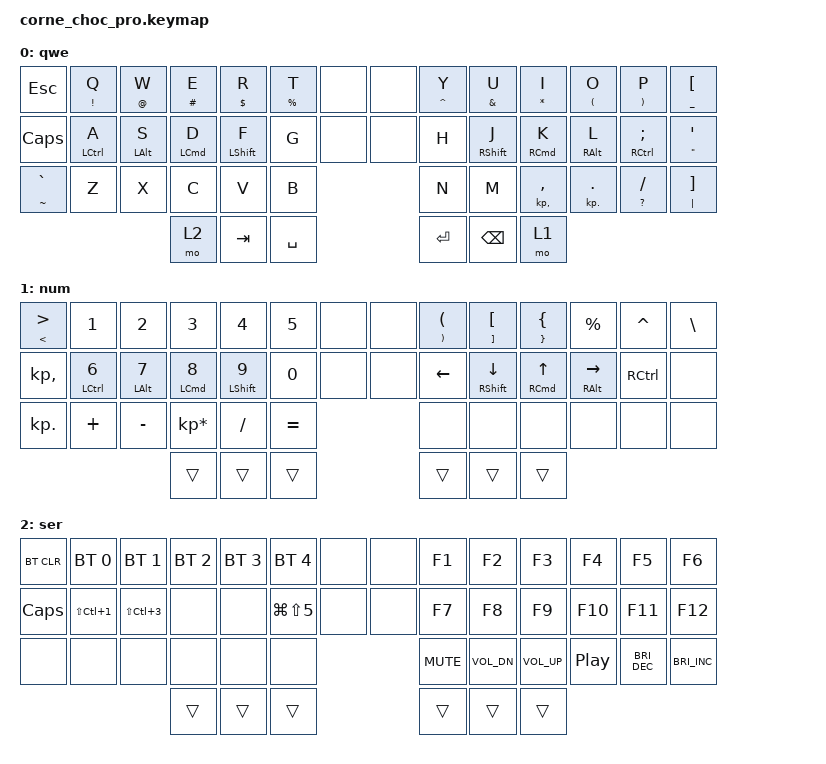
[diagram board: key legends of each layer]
/*
 * Copyright (c) 2020 The ZMK Contributors
 *
 * SPDX-License-Identifier: MIT
 */

#include <behaviors.dtsi>
#include <dt-bindings/zmk/bt.h>
#include <dt-bindings/zmk/keys.h>

/ {
    chosen { zmk,physical-layout = &default_layout; };
};

/ {
    behaviors {
        hml: hml {
            compatible = "zmk,behavior-hold-tap";
            label = "HML";
            bindings = <&kp>, <&kp>;

            #binding-cells = <2>;
            tapping-term-ms = <400>;
            flavor = "tap-preferred";
            hold-trigger-key-positions = <5 4 2 3 0 1 14 15 16 17 18 19 33 32 31 30 29 28 40 41 42>;
            hold-trigger-on-release;
            quick-tap-ms = <400>;
        };

        hmr: hmr {
            compatible = "zmk,behavior-hold-tap";
            label = "HMR";
            bindings = <&kp>, <&kp>;

            #binding-cells = <2>;
            tapping-term-ms = <400>;
            flavor = "tap-preferred";
            hold-trigger-key-positions = <8 9 10 11 12 13 22 23 24 25 26 27 39 38 37 36 34 35 43 44 45>;
            quick-tap-ms = <400>;
            hold-trigger-on-release;
            require-prior-idle-ms = <0>;
        };
    };

    combos {
        compatible = "zmk,combos";

        service_layer_toggle {
            bindings = <&mo 2>;
            key-positions = <37 40>;
        };
    };

    keymap {
        compatible = "zmk,keymap";

        default {
            bindings = <
&kp ESC           &hml EXCL Q   &hml AT_SIGN W   &hml HASH E          &hml DOLLAR R      &hml PERCENT T  &none  &none  &hmr CARET Y  &hmr AMPERSAND U    &hmr ASTERISK I       &hmr LEFT_PARENTHESIS O  &hmr RIGHT_PARENTHESIS P  &hmr UNDERSCORE LEFT_BRACKET
&kp CAPSLOCK      &hml LCTRL A  &hml LEFT_ALT S  &hml LEFT_COMMAND D  &hml LEFT_SHIFT F  &kp G           &none  &none  &kp H         &hmr RIGHT_SHIFT J  &hmr RIGHT_COMMAND K  &hmr RIGHT_ALT L         &hmr RCTRL SEMICOLON      &hmr DOUBLE_QUOTES SINGLE_QUOTE
&hml TILDE GRAVE  &kp Z         &kp X            &kp C                &kp V              &kp B                         &kp N         &kp M               &hmr KP_COMMA COMMA   &hmr KP_DOT PERIOD       &hmr QUESTION SLASH       &hmr PIPE RIGHT_BRACKET
                                                 &mo 2                &kp TAB            &kp SPACE                     &kp ENTER     &kp BACKSPACE       &mo 1
            >;

            label = "qwe";
        };

        nums_and_syms {
            bindings = <
&hml LESS_THAN GREATER_THAN  &kp NUMBER_1         &kp NUMBER_2            &kp NUMBER_3                &kp NUMBER_4              &kp N5        &none  &none  &hmr RIGHT_PARENTHESIS LEFT_PARENTHESIS  &hmr RIGHT_BRACKET LEFT_BRACKET  &hmr RIGHT_BRACE LEFT_BRACE  &kp PERCENT           &kp CARET  &kp BACKSLASH
&kp KP_COMMA                 &hml LCTRL NUMBER_6  &hml LEFT_ALT NUMBER_7  &hml LEFT_COMMAND NUMBER_8  &hml LEFT_SHIFT NUMBER_9  &kp NUMBER_0  &none  &none  &kp LEFT                                 &hmr RIGHT_SHIFT DOWN_ARROW      &hmr RIGHT_COMMAND UP_ARROW  &hmr RIGHT_ALT RIGHT  &kp RCTRL  &none
&kp KP_DOT                   &kp PLUS             &kp MINUS               &kp KP_MULTIPLY             &kp SLASH                 &kp EQUAL                   &none                                    &none                            &none                        &none                 &none      &none
                                                                          &trans                      &trans                    &trans                      &trans                                   &trans                           &trans
            >;

            label = "num";
        };

        service {
            bindings = <
&bt BT_CLR  &bt BT_SEL 0          &bt BT_SEL 1          &bt BT_SEL 2  &bt BT_SEL 3  &bt BT_SEL 4          &none  &none  &kp F1      &kp F2        &kp F3        &kp F4            &kp F5                &kp F6
&kp CAPS    &kp LS(LC(NUMBER_1))  &kp LS(LC(NUMBER_3))  &none         &none         &kp LG(LS(NUMBER_5))  &none  &none  &kp F7      &kp F8        &kp F9        &kp F10           &kp F11               &kp F12
&none       &none                 &none                 &none         &none         &none                               &kp K_MUTE  &kp C_VOL_DN  &kp C_VOL_UP  &kp C_PLAY_PAUSE  &kp C_BRIGHTNESS_DEC  &kp C_BRIGHTNESS_INC
                                                        &trans        &trans        &trans                              &trans      &trans        &trans
            >;

            label = "ser";
        };
    };
};
